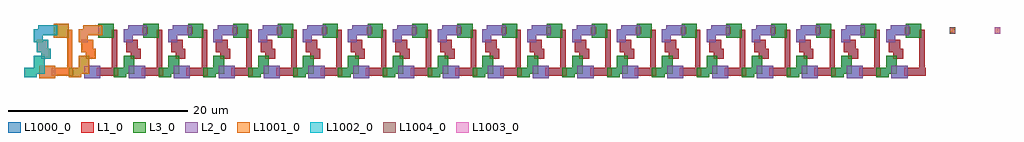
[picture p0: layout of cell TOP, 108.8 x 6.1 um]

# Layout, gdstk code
from math import pi, radians
import gdstk
lib = gdstk.Library(unit=1e-6, precision=1e-09)
def R(c, l, rs):  # rectangles x0, y0, x1, y1
    for r in rs: c.add(gdstk.rectangle(r[:2], r[2:], *l))
def A(c, l, x, y, w, h, nx, ny, dx, dy):  # array of equal rectangles
    R(c, l, [(x+i*dx, y+j*dy, x+i*dx+w, y+j*dy+h) for i in range(nx) for j in range(ny)])
L1_0 = (1, 0)
L2_0 = (2, 0)
L3_0 = (3, 0)
L1000_0 = (1000, 0)
L1001_0 = (1001, 0)
L1002_0 = (1002, 0)
L1003_0 = (1003, 0)
L1004_0 = (1004, 0)

c_c1 = lib.new_cell('C1')
R(c_c1, L1_0, [(2,-11.6,2.7,-11), (-2.7,-3.3,-1.8,-0.9), (-2.1,-3.2,2.4,-2.6), (-0.8,-0.8,0.3,0.3), (-0.1,-0.5,1.3,0.8)])
R(c_c1, L2_0, [(1.8,-1.5,2.9,0.6), (-3,-1.3,-1.6,0.5), (1,0.1,2.5,1.1)])
R(c_c1, L3_0, [(1.5,-2.8,3.1,-1.1), (-2.5,-0.1,-0.5,1.1), (-2.9,0.8,-1.8,2.2)])

top = lib.new_cell('TOP')
A(top, L1000_0, -1.4, 0.5, 1.8, 1.4, 19, 1, 5, 0)
A(top, L1000_0, 1.9, 0.6, 1.4, 1.1, 18, 1, 5, 0)
A(top, L1000_0, 0, 0.8, 2.4, 0.9, 19, 1, 5, 0)
A(top, L1000_0, 3, 1, 1.2, 2, 18, 1, 5, 0)
A(top, L1000_0, 1.7, 1.4, 0.6, 4.5, 19, 1, 5, 0)
A(top, L1000_0, 3.8, 2.7, 1.1, 1.1, 18, 1, 5, 0)
A(top, L1000_0, 3.3, 3.4, 1.3, 1.4, 18, 1, 5, 0)
A(top, L1000_0, 3, 4.5, 1, 1.5, 18, 1, 5, 0)
A(top, L1000_0, 0.2, 5, 1.7, 1.6, 19, 1, 5, 0)
A(top, L1000_0, 3.5, 5.3, 2.1, 1.1, 18, 1, 5, 0)
A(top, L1000_0, 5.1, 5.5, 0.6, 0.7, 18, 1, 5, 0)
R(top, L1001_0, [(-6.4,0.5,-4.6,1.9), (-3.1,0.6,-1.7,1.7), (-5,0.8,-2.6,1.7), (-2,1,-0.8,3), (-3.3,1.4,-2.7,5.9), (-1.2,2.7,-0.1,3.8), (-1.7,3.4,-0.4,4.8), (-2,4.5,-1,6), (-4.8,5,-3.1,6.6), (-1.5,5.3,0.6,6.4)])
R(top, L1002_0, [(-8.1,0.6,-6.7,1.7), (-7,1,-5.8,3), (-6.2,2.7,-5.1,3.8), (-6.7,3.4,-5.4,4.8), (-7,4.5,-6,6), (-6.5,5.3,-4.4,6.4)])
R(top, L1003_0, [(100.1,5.5,100.7,6.2)])
R(top, L1004_0, [(95.1,5.5,95.7,6.2)])
r = gdstk.Reference(c_c1, (89.1,3.5), rotation=pi/2); r.repetition = gdstk.Repetition(1, 20, v1=(0,0), v2=(-5,0)); top.add(r)

lib.write_gds('TOP.gds')
